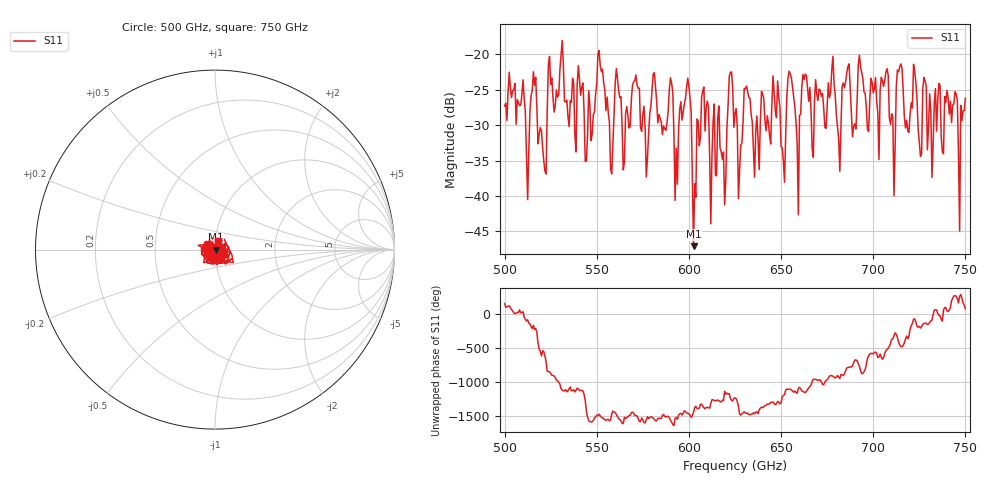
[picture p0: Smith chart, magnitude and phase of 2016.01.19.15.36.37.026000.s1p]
!Created with skrf (http://scikit-rf.org).
# GHz S RI R 50.0
!freq ReS11 ImS11
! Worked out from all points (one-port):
!   401 points, 500 GHz to 750 GHz, reference 50 ohm
!   lowest |S11| = -47.1 dB at 602.5 GHz (marker M1), VSWR 1.01, Z = 50.4 - j0.0164 ohm
!   |S11| at or under -10 dB: start of sweep to end of sweep
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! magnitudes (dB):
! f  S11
! 500 GHz  -27.3
! 512.5 GHz  -40.5
! 515.6 GHz  -22.5
! 521.2 GHz  -35.0
! 531.2 GHz  -18.1
! 544.4 GHz  -35.0
! 551.9 GHz  -21.6
! 557.5 GHz  -36.2
! 562.5 GHz  -26.1
! 590 GHz  -23.3
! 593.8 GHz  -38.3
! 599.4 GHz  -23.4
! 602.5 GHz  -47.1
! 608.1 GHz  -24.6
! 618.8 GHz  -33.8
! 622.5 GHz  -22.6
! 625 GHz  -28.3
! 646.9 GHz  -27.9
! 651.2 GHz  -35.1
! 656.2 GHz  -24.7
! 659.4 GHz  -42.7
! 662.5 GHz  -23.6
! 687.5 GHz  -24.7
! 706.9 GHz  -22.5
! 710.6 GHz  -28.8
! 714.4 GHz  -21.8
! 718.8 GHz  -30.8
! 750 GHz  -26.2
